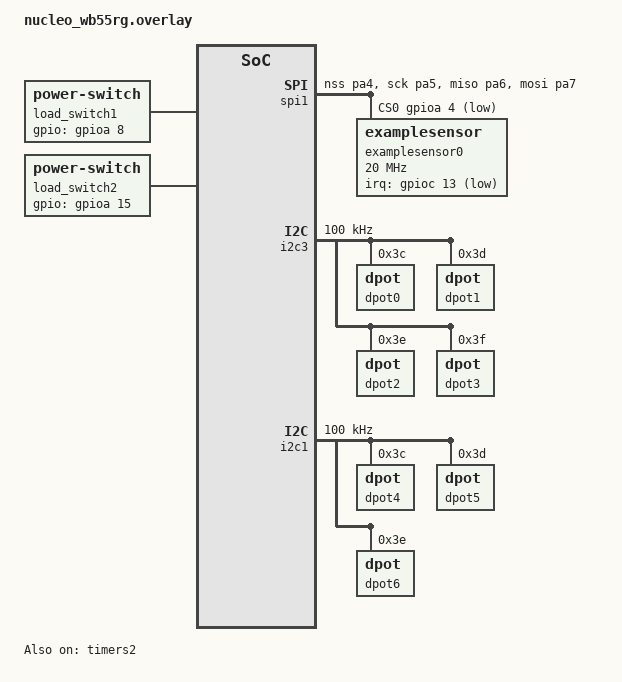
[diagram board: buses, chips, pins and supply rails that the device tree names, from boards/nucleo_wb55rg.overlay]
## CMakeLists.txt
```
#-------------------------------------------------------------------------------
# Zephyr Example Application
#
# Copyright (c) 2021 Nordic Semiconductor ASA
# SPDX-License-Identifier: Apache-2.0

cmake_minimum_required(VERSION 3.13.1)
find_package(Zephyr REQUIRED HINTS $ENV{ZEPHYR_BASE})

project(app LANGUAGES C)

target_sources(app PRIVATE src/main.c)

#FILE(GLOB app_sources src/*.c)
FILE(GLOB app_sources src/egadc.c src/MCP356X.c src/MCP45HVX1.c src/myuuids.c src/dpot.c src/mysrv.c src/mybt.c src/mydefs.c src/btmisc.c src/printer.c)
target_sources(app PRIVATE ${app_sources})
```

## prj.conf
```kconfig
# Copyright (c) 2021 Nordic Semiconductor ASA
# SPDX-License-Identifier: Apache-2.0
#
# This file contains selected Kconfig options for the application.


CONFIG_BT=y
CONFIG_BT_PERIPHERAL=y
CONFIG_BT_SMP=y
CONFIG_TINYCRYPT=y
CONFIG_BT_DEVICE_NAME="TIABT Instrument"
CONFIG_BT_DIS=y
CONFIG_BT_DIS_PNP=n
CONFIG_BT_BAS=y
CONFIG_BT_DEVICE_APPEARANCE=768


#CONFIG_BT_MESH_ADV_STACK_SIZE=2048
#CONFIG_BT_RX_STACK_SIZE=4096
#CONFIG_MAIN_STACK_SIZE=2048


#CONFIG_SENSOR=y

#CONFIG_SPI_INIT_PRIORITY=70
CONFIG_SPI=y

#CONFIG_ADC=y
#CONFIG_ADC_INIT_PRIORITY=71

# I2C
CONFIG_I2C=y

CONFIG_GPIO=y


CONFIG_PRINTK=y

# LOG
CONFIG_LOG=y
CONFIG_LOG_BUFFER_SIZE=2048
#CONFIG_LOG_BACKEND_SHOW_COLOR=y
CONFIG_LOG_MODE_IMMEDIATE=n # This causes ***** MPU FAULT ***** when bluetooth is connecting

# NEWLIB
CONFIG_NEWLIB_LIBC=y
CONFIG_NEWLIB_LIBC_FLOAT_PRINTF=y

CONFIG_BUILD_WITH_TFM=y
CONFIG_TFM_PROFILE_TYPE_MEDIUM=y

# COUNTER
CONFIG_COUNTER=y
CONFIG_COUNTER_INIT_PRIORITY=50
CONFIG_COUNTER_TIMER_STM32=y
CONFIG_COUNTER_RTC_STM32=y
```

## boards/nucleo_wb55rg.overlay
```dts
/*
 * Copyright (c) 2021 Nordic Semiconductor ASA
 * SPDX-License-Identifier: Apache-2.0
 */

/* This devicetree overlay file will be automatically picked by the Zephyr
 * build system when building the sample for the nucleo_f302r8 board. It shows
 * how the example-application can be built on sample boards already provided
 * by Zephyr.
 */

/ {

};

&gpioc {
	status = "okay";
};

// https://os.mbed.com/platforms/ST-Nucleo-WB55RG/
// https://github.com/zephyrproject-rtos/zephyr/blob/main/boards/arm/nucleo_wb55rg/nucleo_wb55rg.dts
// ADC pin CSK ---orange--- (PA5,D13,20,SCK)
// ADC pin SDO ---yellow--- (PA6,D12,21,MISO)
// ADC pin SDI ---green---- (PA7,D11,22,MOSI)
// ADC pin CS  ---white---- (PA4,D10)
// ADC pin INT ---blue----- (PC13,D7)
// https://github.com/zephyrproject-rtos/zephyr-testing/blob/0f09360456592ecf0d0413352dc1ef5d23cd0364/include/drivers/spi.h#L252
// https://github.com/zephyrproject-rtos/zephyr-testing/blob/2fc0ace3c2462cb33dc8c25e33c629cedba08ebb/boards/arm/rm1xx_dvk/rm1xx_dvk.dts#L60
// https://github.com/zephyrproject-rtos/zephyr/blob/ee91cd5665b1590c9a8a9a992bb19d81feeeb461/boards/arm/bt610/bt610.dts#L268


// Connect cables as following:
// ADC PCB |  cable color | CN10 | CN9 |ST-Nucleo-WB55RG
// ========|==============|======|=====|======
// ADC_CS  |  ---green----| 17   | D10 | (PA4)
// ADC_SCK |  ---white----| 11   | D13 | (PA5,20,SCK)
// ADC_SDI |  ---yellow---| 15   | D11 | (PA7,22,MOSI)
// ADC_SDO |  ---gray-----| 13   | D12 | (PA6,21,MISO)
// ADC_INT |  ---purple---| 23   | D7  | (PC13)

// Connect cables as following:
// ADC PCB  |  cable color | Pin      | 
// =========|==============|==========|
// I2C3_SCL |  ---yellow---| CN7_28   |
// I2C3_SDA |  ---green----| CN7_30   |
// I2C1_SCL |  ---yellow---| CN10_3   |
// I2C1_SDA |  ---green----| CN10_5   |


&spi1 {
	status = "okay";
	pinctrl-0 = <&spi1_nss_pa4 &spi1_sck_pa5 &spi1_miso_pa6 &spi1_mosi_pa7>;
	cs-gpios = <&gpioa 4 GPIO_ACTIVE_LOW>;
	examplesensor0: examplesensor@0 {
		compatible = "zephyr,examplesensor";
		spi-max-frequency = <20000000>;
		irq-gpios = <&gpioc 13 GPIO_ACTIVE_LOW>;
		reg = <0>;
	};
};

&i2c3 {
	status = "okay";
	clock-frequency = <I2C_BITRATE_STANDARD>;
	dpot0: dpot@3c {
		compatible = "zephyr,dpot";
		reg = <0x3c>;
	};
	dpot1: dpot@3d {
		compatible = "zephyr,dpot";
		reg = <0x3d>;
	};
	dpot2: dpot@3e {
		compatible = "zephyr,dpot";
		reg = <0x3e>;
	};
	dpot3: dpot@3f {
		compatible = "zephyr,dpot";
		reg = <0x3f>;
	};
};

&i2c1 {
	status = "okay";
	clock-frequency = <I2C_BITRATE_STANDARD>;
	dpot4: dpot@3c {
		compatible = "zephyr,dpot";
		reg = <0x3c>;
	};
	dpot5: dpot@3d {
		compatible = "zephyr,dpot";
		reg = <0x3d>;
	};
	dpot6: dpot@3E {
		compatible = "zephyr,dpot";
		reg = <0x3e>;
	};
};


&timers2 {
	status = "okay";
	counters2: counter {
		compatible = "st,stm32-counter";
		status = "okay";
		label = "COUNTER_2";
	};
};



/ {


	// White cable

	load_switch1: load_switch1 {
		compatible = "power-switch";
		gpios = <&gpioa 8 GPIO_ACTIVE_HIGH>; //CN10.25
	};

	// Grey cable
	load_switch2: load_switch2 {
		compatible = "power-switch";
		gpios = <&gpioa 15 GPIO_ACTIVE_HIGH>; //CN10.27
	};

};
```

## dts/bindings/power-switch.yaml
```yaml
description: GPIO pin to switch a power regulator on or off

compatible: "power-switch"

properties:
  gpios:
    type: phandle-array
    required: true
    description: |
      The GPIO connected to the enable pin of a voltage regulator.
```

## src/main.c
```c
/*
west build -p -b nucleo_wb55rg
west build -p -b esp32c3_devkitm

Timer for nucleo_wb55rg:
https://github.com/zephyrproject-rtos/zephyr/discussions/47033
https://github.com/zephyrproject-rtos/zephyr/blob/main/samples/drivers/counter/alarm/src/main.c

*/


#include <zephyr/device.h>
#include <zephyr/devicetree.h>
#include <zephyr/kernel.h>
#include <zephyr/drivers/spi.h>
#include <zephyr/sys/util.h>
#include <stdint.h>
#include <stdio.h>


#include "app_version.h"
#include "egadc.h"
#include "dpot.h"
#include "mybt.h"
#include "printer.h"
#include "mydefs.h"

#include <zephyr/logging/log.h>
LOG_MODULE_REGISTER(main, CONFIG_APP_LOG_LEVEL);
//struct spi_dt_spec bus = SPI_DT_SPEC_GET(DT_NODELABEL(mcp3204), SPI_WORD_SET(8) | SPI_MODE_GET(0), 1);






void app_print_voltage_ref(struct mcp356x_config * c)
{
	LOG_INF("Checking voltage reference");
	egadc_adc_value_reset(c);
	egadc_set_mux(c, MCP356X_MUX_VIN_NEG_AGND | MCP356X_MUX_VIN_POS_VREF_EXT_PLUS);
	int n = 10;
	while (n--) {
		mcp356x_config_print_voltage(c);
		egadc_adc_value_reset(c);
		k_sleep(K_MSEC(500));
	}
}

void app_print_temperature(struct mcp356x_config * c)
{
	egadc_adc_value_reset(c);
	LOG_INF("Checking temperature MCP356X_MUX_VIN_POS_TEMP");
	egadc_set_ch(c, MCP356X_CH_TEMP);
	int n = 10;
	while (n--) {
		//printf("%04i %f C\n", voltage, celcius * (c->vref_mv / 3.3));
		k_sleep(K_MSEC(500));
	}
}




struct mcp356x_config myadc = {
	.state = EGADC_STATE_START,
	.bus = SPI_DT_SPEC_GET(DT_NODELABEL(examplesensor0), SPI_WORD_SET(8) | SPI_MODE_GET(0), 1),
	.irq = GPIO_DT_SPEC_GET(DT_NODELABEL(examplesensor0), irq_gpios),
	.is_scan = false,
	//.gain_reg = MCP356X_CFG_2_GAIN_X_033,
	.gain_reg = MCP356X_CFG_2_GAIN_X_1,
};

struct mcp45hvx1_config dpots[7] = {
	{.bus = I2C_DT_SPEC_GET(DT_NODELABEL(dpot0)), .myid = MYID_DPOT0_WIPER},
	{.bus = I2C_DT_SPEC_GET(DT_NODELABEL(dpot1)), .myid = MYID_DPOT1_WIPER},
	{.bus = I2C_DT_SPEC_GET(DT_NODELABEL(dpot2)), .myid = MYID_DPOT2_WIPER},
	{.bus = I2C_DT_SPEC_GET(DT_NODELABEL(dpot3)), .myid = MYID_DPOT3_WIPER},
	{.bus = I2C_DT_SPEC_GET(DT_NODELABEL(dpot4)), .myid = MYID_DPOT4_WIPER},
	{.bus = I2C_DT_SPEC_GET(DT_NODELABEL(dpot5)), .myid = MYID_DPOT5_WIPER},
	{.bus = I2C_DT_SPEC_GET(DT_NODELABEL(dpot6)), .myid = MYID_DPOT6_WIPER},
};

static const struct gpio_dt_spec load_switch1 = GPIO_DT_SPEC_GET_OR(DT_NODELABEL(load_switch1), gpios, {0});
static const struct gpio_dt_spec load_switch2 = GPIO_DT_SPEC_GET_OR(DT_NODELABEL(load_switch2), gpios, {0});


static const struct gpio_dt_spec leds[MY_LEDS_COUNT] = 
{
	GPIO_DT_SPEC_GET(DT_NODELABEL(blue_led_1), gpios), //Blue
	GPIO_DT_SPEC_GET(DT_NODELABEL(green_led_2), gpios), //Green
	GPIO_DT_SPEC_GET(DT_NODELABEL(green_led_3), gpios), //Red
};


int test_leds()
{
	for(int i = 0; i < MY_LEDS_COUNT; ++i) {
		int ret;
		if (!gpio_is_ready_dt(leds+i)) {return 0;}
		ret = gpio_pin_configure_dt(leds+i, GPIO_OUTPUT_ACTIVE);
		if (ret < 0) {return 0;}
		k_sleep(K_MSEC(500));
		ret = gpio_pin_set_dt(leds+i,1);
		if (ret < 0) {return 0;}
	}
	k_sleep(K_MSEC(500));
	for(int i = 0; i < MY_LEDS_COUNT; ++i) {
		int ret = gpio_pin_set_dt(leds+i,0);
		if (ret < 0) {return 0;}
	}
	return 0;
}


int main(void)
{
	//printk("Color  \x1b[31;4mtext test\n");
	LOG_INF("examplesensor0 %s", "" DT_NODE_PATH(DT_NODELABEL(examplesensor0)));
	LOG_INF("dpot0 %s, %02X", "" DT_NODE_PATH(DT_NODELABEL(dpot0)), dpots[0].bus.addr);
	LOG_INF("dpot1 %s, %02X", "" DT_NODE_PATH(DT_NODELABEL(dpot1)), dpots[1].bus.addr);
	LOG_INF("dpot2 %s, %02X", "" DT_NODE_PATH(DT_NODELABEL(dpot2)), dpots[2].bus.addr);
	LOG_INF("dpot3 %s, %02X", "" DT_NODE_PATH(DT_NODELABEL(dpot3)), dpots[3].bus.addr);
	LOG_INF("dpot4 %s, %02X", "" DT_NODE_PATH(DT_NODELABEL(dpot4)), dpots[4].bus.addr);
	LOG_INF("dpot5 %s, %02X", "" DT_NODE_PATH(DT_NODELABEL(dpot5)), dpots[5].bus.addr);
	LOG_INF("dpot6 %s, %02X", "" DT_NODE_PATH(DT_NODELABEL(dpot6)), dpots[6].bus.addr);

	LOG_INF("Checking loadswitch1");
	if (!gpio_is_ready_dt(&load_switch1)) {
		LOG_ERR("The load switch pin GPIO port is not ready");
		return 0;
	}

	LOG_INF("Checking loadswitch2");
	if (!gpio_is_ready_dt(&load_switch1)) {
		LOG_ERR("The load switch pin GPIO port is not ready");
		return 0;
	}

	{
		int err = gpio_pin_configure_dt(&load_switch1, GPIO_OUTPUT_INACTIVE);
		if (err != 0) {
			LOG_ERR("Configuring GPIO pin failed: %d\n", err);
			return 0;
		}
		//gpio_pin_set_dt(&load_switch1, 1);
	}

	{
		int err = gpio_pin_configure_dt(&load_switch2, GPIO_OUTPUT_INACTIVE);
		if (err != 0) {
			LOG_ERR("Configuring GPIO pin failed: %d\n", err);
			return 0;
		}
		//gpio_pin_set_dt(&load_switch2, 0);
	}

	LOG_INF("Checking SPI BUS");
	if (!spi_is_ready_dt(&myadc.bus)) {
		LOG_ERR("SPI bus is not ready %i", 0);
		return 0;
	}
	LOG_INF("Checking SPI OK");
	
	LOG_INF("Checking I2C BUS");
	for(int i = 0; i < 7; ++i) {
		if (!i2c_is_ready_dt(&dpots[i].bus)) {
			LOG_ERR("Failed to get pointer to %s device!", dpots[i].bus.bus->name);
			return -EINVAL;
		}
	}
	LOG_INF("Checking I2C OK");


	LOG_INF("Init bluetooth");
	mybt_init();

	LOG_INF("Testing LEDS");
	test_leds();
	
	LOG_INF("Setup ADC");
	egadc_setup_adc(&myadc);
	
	LOG_INF("Setup DPOT");
	dpot_setup(&dpots[0]);
	dpot_setup(&dpots[1]);
	dpot_setup(&dpots[2]);
	dpot_setup(&dpots[3]);
	dpot_setup(&dpots[4]);
	dpot_setup(&dpots[5]);
	dpot_setup(&dpots[6]);

	while(1) {
		mybt_progress(&app);
		egadc_progress(&myadc);
		dpot_progress(&dpots[0]);
		dpot_progress(&dpots[1]);
		dpot_progress(&dpots[2]);
		dpot_progress(&dpots[3]);
		dpot_progress(&dpots[4]);
		dpot_progress(&dpots[5]);
		dpot_progress(&dpots[6]);

		if(app.values_flags[MYID_APP_VREG1_EN] & MYFLAG_SETVAL) {
			app.values_flags[MYID_APP_VREG1_EN] &= ~MYFLAG_SETVAL;
			LOG_INF("Vreg enable load_switch1: %i", !!app.values[MYID_APP_VREG1_EN]);
			int err = gpio_pin_set_dt(&load_switch1, !!app.values[MYID_APP_VREG1_EN]);
			if (err != 0) {
				printf("Setting GPIO pin level failed: %d\n", err);
			}
		}

		if(app.values_flags[MYID_APP_VREG2_EN] & MYFLAG_SETVAL) {
			app.values_flags[MYID_APP_VREG2_EN] &= ~MYFLAG_SETVAL;
			LOG_INF("Vreg enable load_switch2: %i", !!app.values[MYID_APP_VREG2_EN]);
			int err = gpio_pin_set_dt(&load_switch2, !!app.values[MYID_APP_VREG2_EN]);
			if (err != 0) {
				printf("Setting GPIO pin level failed: %d\n", err);
			}
		}

		switch (app.values[MYID_APP_PRINT_MODE])
		{
		case APP_PRINT_MODE_ADC_ALL:
			if(myadc.state == EGADC_STATE_READY) {
				app_print_adc_min(&app);
				app_print_adc_max(&app);
				app_print_adc_val(&app);
			}
			break;
		
		default:
			break;
		}

		k_sleep(K_SECONDS(1));
	}



	return 0;
}
```

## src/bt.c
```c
#include <stdbool.h>
#include <stddef.h>
#include <string.h>
#include <errno.h>

#include <zephyr/types.h>
#include <zephyr/sys/printk.h>
#include <zephyr/sys/byteorder.h>
#include <zephyr/kernel.h>
#include <zephyr/bluetooth/bluetooth.h>
#include <zephyr/bluetooth/hci.h>
#include <zephyr/bluetooth/conn.h>
#include <zephyr/bluetooth/uuid.h>
#include <zephyr/bluetooth/gatt.h>
#include <zephyr/bluetooth/services/bas.h>
#include <zephyr/logging/log.h>

#include "mysrv.h"

LOG_MODULE_REGISTER(bt, CONFIG_APP_LOG_LEVEL);

static void connected(struct bt_conn *conn, uint8_t err)
{
	if (err) {
		LOG_ERR("Connection failed (err 0x%02x)", err);
	} else {
		LOG_INF("Connected");
	}
}

static void disconnected(struct bt_conn *conn, uint8_t reason)
{
	LOG_INF("Disconnected (reason 0x%02x)", reason);
}

BT_CONN_CB_DEFINE(conn_callbacks) = {
	.connected = connected,
	.disconnected = disconnected,
};

static const struct bt_data ad[] = {
	BT_DATA_BYTES(BT_DATA_FLAGS, (BT_LE_AD_GENERAL | BT_LE_AD_NO_BREDR))
};

static void bt_ready(int err)
{
	if (err) {
		LOG_ERR("Bluetooth init failed (err %d)", err);
		return;
	}
	LOG_INF("Bluetooth initialized. Connecting and disconnecting and connecting fails.");
	err = bt_le_adv_start(BT_LE_ADV_CONN_NAME, ad, ARRAY_SIZE(ad), NULL, 0);
	if (err) {
		LOG_ERR("Advertising failed to start (err %d)", err);
		return;
	}
	LOG_INF("Configuration mode: waiting connections...");
}

void mybt_init(void)
{
	int err;
	LOG_INF("Enabling bluetooth");
	err = bt_enable(bt_ready);
	if (err) {
		LOG_ERR("Bluetooth init failed (err %d)", err);
		return;
	}
	LOG_INF("Bluetooth enabled");
}

void mybt_progress(void)
{
	mysrv_notifier();
}
```

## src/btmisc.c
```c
#include "btmisc.h"
#include "mydefs.h"
#include <zephyr/logging/log.h>


LOG_MODULE_REGISTER(btmisc, CONFIG_APP_LOG_LEVEL);

ssize_t read_signed(struct bt_conn *conn, const struct bt_gatt_attr *attr,void *buf, uint16_t len, uint16_t offset)
{
	const char *value = attr->user_data;
	return bt_gatt_attr_read(conn, attr, buf, len, offset, value, sizeof(int32_t));
}

ssize_t write_signed(struct bt_conn *conn, const struct bt_gatt_attr *attr,const void *buf, uint16_t len, uint16_t offset,uint8_t flags)
{
    const struct bt_uuid *uuid = attr[0].uuid;
	print_uuid(uuid);
	uint8_t *value = attr->user_data;
	if (offset + len > sizeof(int32_t)) {
		return BT_GATT_ERR(BT_ATT_ERR_INVALID_OFFSET);
	}
	memcpy(value + offset, buf, len);

	uint16_t w1;
	uuid_extract(uuid, NULL, &w1, NULL, NULL, NULL);

	if(w1 < MYID_COUNT) {
		int32_t value = app.values[w1];
		app.values_flags[w1] |= MYFLAG_SETVAL;
    	//printk("write_signed value: myid:%s value:%i\n", myid_t_tostr(w1), value);
	} else {
		LOG_WRN("w1 outside array");
	}
	
	return len;
}


void uuid_extract(const struct bt_uuid *uuid, uint64_t * w32, uint16_t * w1, uint16_t * w2, uint16_t * w3, uint32_t * w64)
{
	if(w1) {
    	uint16_t tmp;
    	memcpy(&tmp, &BT_UUID_128(uuid)->val[10], sizeof(tmp));
		(*w1) = sys_le16_to_cpu(tmp);
	}
}


void print_uuid(const struct bt_uuid *uuid)
{
	char str[256];
	bt_uuid_to_str(uuid, str, 256);
	printk("%s\n", str);
}

// https://github.com/zephyrproject-rtos/zephyr/blob/b4e66299cdf687003ad6d7e010328f468fda1fbd/subsys/bluetooth/host/uuid.c#L41
void ccc_cfg_changed1(const struct bt_gatt_attr *attr, uint16_t value)
{
    const struct bt_uuid *uuid = attr[-1].uuid;
	uint16_t w1;
	uuid_extract(uuid, NULL, &w1, NULL, NULL, NULL);
	if(w1 >= 0 && w1 < MYID_COUNT) {
		app.values_flags[w1] &= ~MYFLAG_NOTIFY;
		app.values_flags[w1] |= (value == BT_GATT_CCC_NOTIFY) ? MYFLAG_NOTIFY : 0;
		LOG_INF("ccc_cfg_changed1: w1:%04X flags:%08X\n", w1, app.values_flags[w1]);
	}
}


int btmisc_notifier(int32_t * values, uint32_t * flags, int vcount, notify_t * notifier, int count, const struct bt_gatt_attr *attrs)
{
	int err = 0;
	for(int i = 0; i < count; ++i) {
		struct bt_gatt_service_static const * srv = notifier[i].srv;
		if(srv == NULL) {
			break;
		}
		myid_t id = notifier[i].id;
		if(id >= vcount) {
			continue;
		}
		if((flags[id] & MYFLAG_NOTIFY) == 0) {
			continue;
		}
		mygatt_t att = notifier[i].att;
		//values[id]++;
		LOG_INF("notifier: attribute:%i myid:%s", att, myid_t_tostr(id));
		int err = bt_gatt_notify(NULL, &(attrs[att]), &values[id], sizeof(int32_t));
		if (err) {
			LOG_ERR("bt_gatt_notify error: %i\n", err);
		}
	}
	return err;
}
```

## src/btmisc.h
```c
#pragma once
#include "mydefs.h"
#include <zephyr/bluetooth/bluetooth.h>
#include <zephyr/bluetooth/hci.h>
#include <zephyr/bluetooth/conn.h>
#include <zephyr/bluetooth/uuid.h>
#include <zephyr/bluetooth/gatt.h>
#include <zephyr/bluetooth/services/bas.h>
#include <zephyr/sys/byteorder.h>


typedef struct
{
	struct bt_gatt_service_static const * srv;
	mygatt_t att;
	myid_t id;
} notify_t;

ssize_t read_signed(struct bt_conn *conn, const struct bt_gatt_attr *attr,void *buf, uint16_t len, uint16_t offset);
ssize_t write_signed(struct bt_conn *conn, const struct bt_gatt_attr *attr,const void *buf, uint16_t len, uint16_t offset,uint8_t flags);


int btmisc_notifier(int32_t * values, uint32_t * flags, int vcount, notify_t * notifier, int count, const struct bt_gatt_attr *attrs);
void ccc_cfg_changed1(const struct bt_gatt_attr *attr, uint16_t value);
```

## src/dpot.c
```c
#include "dpot.h"
#include "MCP45HVX1.h"

#include <zephyr/logging/log.h>

LOG_MODULE_REGISTER(dpot, CONFIG_APP_LOG_LEVEL);

void transfer(struct mcp45hvx1_config * config, int cmd, int value)
{
	uint8_t tx[2] = {cmd, value};
	uint8_t rx[2] = {0};
	struct i2c_msg msgs[2] = {
		{.buf = tx},
		{.buf = rx},
	};
	int rc = 0;
	int addr = config->bus.addr;

	switch (cmd & 0x0F) {
	case MCP45HVX1_COM_READ:
		msgs[0].flags = I2C_MSG_WRITE;
		msgs[1].flags = I2C_MSG_READ | I2C_MSG_STOP;
		msgs[0].len = 1;
		msgs[1].len = 2;
		rc = i2c_transfer_dt(&config->bus, msgs + 0, 1);
		if (rc) {
			LOG_ERR("Error i2c_transfer: %d", rc);
			return;
		}
		rc = i2c_transfer_dt(&config->bus, msgs + 1, 1);
		if (rc) {
			LOG_ERR("Error i2c_transfer: %d", rc);
			return;
		}
		break;
	
	case MCP45HVX1_COM_WRITE:
		msgs[0].flags = I2C_MSG_WRITE | I2C_MSG_STOP;
		msgs[0].len = 2;
		rc = i2c_transfer_dt(&config->bus, msgs + 0, 1);
		if (rc) {
			LOG_ERR("Error i2c_transfer: %d", rc);
			return;
		}
		break;
	case MCP45HVX1_COM_WIPERINC:
	case MCP45HVX1_COM_WIPERDEC:
		msgs[0].flags = I2C_MSG_WRITE | I2C_MSG_STOP;
		msgs[0].len = 1;
		rc = i2c_transfer_dt(&config->bus, msgs + 0, 1);
		if (rc) {
			LOG_ERR("Error i2c_transfer: %d", rc);
			return;
		}
		break;
	default:
		break;
	}

	switch (cmd & 0x0F) {
	case MCP45HVX1_COM_WIPERINC:
		LOG_INF("MCP45HVX1 WIPERINC: %02X/%s", addr, MCP45HVX1_REG_tostring(cmd & 0xF0));
		break;
	case MCP45HVX1_COM_WIPERDEC:
		LOG_INF("MCP45HVX1 WIPERDEC: %02X/%s", addr, MCP45HVX1_REG_tostring(cmd & 0xF0));
		break;
	case MCP45HVX1_COM_READ:
		LOG_INF("MCP45HVX1 READ: %02X/%s: %02X %02X", addr, MCP45HVX1_REG_tostring(cmd & 0xF0), rx[0], rx[1]);
		break;
	case MCP45HVX1_COM_WRITE:
		LOG_INF("MCP45HVX1 WRITE: %02X/%s: %02X", addr, MCP45HVX1_REG_tostring(cmd & 0xF0), value);
		break;
	}

}







int dpot_setup(struct mcp45hvx1_config * config)
{
	transfer(config, MCP45HVX1_MEM_TCON | MCP45HVX1_COM_WRITE, MCP45HVX1_TCON_R0HW | MCP45HVX1_TCON_R0A | MCP45HVX1_TCON_R0W);
	transfer(config, MCP45HVX1_MEM_WIPER | MCP45HVX1_COM_WRITE, 0);
	return 0;
}




void dpot_progress(struct mcp45hvx1_config * config)
{
	myid_t id = config->myid;
	if(id < MYID_COUNT) {
		if(app.values_flags[id] & MYFLAG_SETVAL) {
			app.values_flags[id] &= ~MYFLAG_SETVAL;
			int32_t value = app.values[id];
			if(value >= 0) {
				transfer(config, MCP45HVX1_MEM_TCON | MCP45HVX1_COM_WRITE, MCP45HVX1_TCON_R0HW | MCP45HVX1_TCON_R0A | MCP45HVX1_TCON_R0W);
				k_sleep(K_MSEC(10));
				transfer(config, MCP45HVX1_MEM_WIPER | MCP45HVX1_COM_WRITE, value);
				LOG_INF("Set dpot %s wiper: %i", myid_t_tostr(id), value);
			} else {
				transfer(config, MCP45HVX1_MEM_TCON | MCP45HVX1_COM_WRITE, MCP45HVX1_TCON_R0HW | MCP45HVX1_TCON_R0A);
			}
		}
	} else {
		LOG_WRN("id outside array");
	}
}
```

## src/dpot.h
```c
#pragma once
#include <zephyr/drivers/i2c.h>
#include "mydefs.h"
// MCP45HVX1
struct mcp45hvx1_config {
	const struct i2c_dt_spec bus;
	myid_t myid;
};



int dpot_setup(struct mcp45hvx1_config * config);

void dpot_progress(struct mcp45hvx1_config * config);
```

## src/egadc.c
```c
#include "egadc.h"

#include <zephyr/drivers/spi.h>
#include <zephyr/sys/util.h>
#include <zephyr/logging/log.h>

#include "MCP356X.h"
#include "mydefs.h"


LOG_MODULE_REGISTER(egadc, LOG_LEVEL_DBG);


static void MCP356X_log_REG_IRQ(uint32_t value)
{
	LOG_INF("MCP356X_IRQ_MASK_EN_STP:        %i", !!(value & MCP356X_IRQ_MASK_EN_STP));
	LOG_INF("MCP356X_IRQ_MASK_EN_FASTCMD:    %i", !!(value & MCP356X_IRQ_MASK_EN_FASTCMD));
	LOG_INF("MCP356X_IRQ_MASK_MODE0:         %i", !!(value & MCP356X_IRQ_MASK_MODE0));
	LOG_INF("MCP356X_IRQ_MASK_MODE1:         %i", !!(value & MCP356X_IRQ_MASK_MODE1));
	LOG_INF("MCP356X_IRQ_MASK_POR_STATUS:    %i", !!(value & MCP356X_IRQ_MASK_POR_STATUS));
	LOG_INF("MCP356X_IRQ_MASK_CRCCFG_STATUS: %i", !!(value & MCP356X_IRQ_MASK_CRCCFG_STATUS));
	LOG_INF("MCP356X_IRQ_MASK_DR_STATUS:     %i", !!(value & MCP356X_IRQ_MASK_DR_STATUS));
	LOG_INF("MCP356X_IRQ_MASK_UNIMPLEMENTED: %i", !!(value & MCP356X_IRQ_MASK_UNIMPLEMENTED));
}

static void MCP356X_log_REG_MUX(uint32_t value)
{
	LOG_INF("MCP356X_REG_MUX_VIN_POS: %s", MCP356X_MUX_POS_to_str(value));
	LOG_INF("MCP356X_REG_MUX_VIN_NEG: %s", MCP356X_MUX_NEG_to_str(value));
}

static void MCP356X_log_REG(uint32_t reg, uint32_t value)
{
	switch (reg)
	{
	case MCP356X_REG_IRQ:
		MCP356X_log_REG_IRQ(value);
		break;
	case MCP356X_REG_MUX:
		MCP356X_log_REG_MUX(value);
		break;
	default:
		break;
	}
}




static int transceive(const struct spi_dt_spec *bus, uint8_t *tx, uint8_t *rx, uint8_t reg, uint8_t len, uint8_t cmd)
{
	struct spi_buf buf_tx[] = {{.buf = tx,.len = len+1}};
	struct spi_buf buf_rx[] = {{.buf = rx,.len = len+1}};
	struct spi_buf_set tx_buf = {.buffers = buf_tx, .count = 1};
	struct spi_buf_set rx_buf = {.buffers = buf_rx, .count = 1};
	tx[0] = MCP356X_COMMAND_BYTE(MCP356X_DEVICE_ADR, reg, cmd);
	int rv = spi_transceive_dt(bus, &tx_buf, &rx_buf);
	return rv;
}


static int get(const struct spi_dt_spec *bus, uint8_t reg, uint32_t * value)
{
	uint8_t len = MCP356X_get_len(reg);
	uint8_t tx[5] = {0};
	uint8_t rx[5] = {0};
	int rv = transceive(bus, tx, rx, reg, len, MCP356X_CMD_INC_READ);
	*value = MCP356X_get_value(rx, len);
	//printk("MCP356X_get_value: %2i : %02X : %02X %02X %02X %02X : %5i\n", len, rx[0], rx[1], rx[2], rx[3], rx[4], v);
	return rv;
}

/*
In MUX mode, channel is defaulted to 0.
Get ADC data as (dataformat 11), see datasheet for more info
*/
static int get_data_11(const struct spi_dt_spec *bus, int32_t * out_value, uint8_t * out_channel)
{
	uint8_t reg = MCP356X_REG_ADC_DATA;
	uint8_t len = 4;
	uint8_t tx[5] = {0};
	uint8_t rx[5] = {0};
	int rv = transceive(bus, tx, rx, reg, len, MCP356X_CMD_INC_READ);
	MCP356X_ADC_DATA_decode_11(rx, out_value, out_channel);
	return rv;
}


static int egadc_log_REG_IRQ(const struct spi_dt_spec *bus, uint8_t reg)
{
	uint32_t value;
	int rv = get(bus, reg, &value);
	if(reg == MCP356X_REG_IRQ)
	{
		MCP356X_log_REG_IRQ(value);
	}
	return rv;
}


#define MCP356X_LOG_SET_VALUE
static int set(const struct spi_dt_spec *bus, uint8_t reg, uint32_t value)
{
	uint8_t len = MCP356X_get_len(reg);
	uint8_t tx[5] = {0};
	uint8_t rx[5] = {0};
	MCP356X_set_value(tx, len, value);
	int rv = transceive(bus, tx, rx, reg, len, MCP356X_CMD_INC_WRITE);
#ifdef MCP356X_LOG_SET_VALUE
	uint32_t value2;
	rv = get(bus, reg, &value2);
	LOG_INF("%s: write:%08x read:%08x", MCP356X_REG_tostring(reg), value, value2);
	MCP356X_log_REG(reg, value2);
#endif
return rv;
}


typedef struct
{
	uint8_t key;
	uint32_t value;
} egadc_regval_pair_t;





void egadc_setup_adc(struct mcp356x_config * config)
{
	LOG_INF("Setting registers in MCP356X");
	/*
	egadc_regval_pair_t a[] = 
	{
		{MCP356X_REG_CFG_0, MCP356X_CFG_0_VREF_SEL_0 | MCP356X_CFG_0_CLK_SEL_2 | MCP356X_CFG_0_CS_SEL_0 | MCP356X_CFG_0_MODE_CONV},
		{MCP356X_REG_CFG_1, MCP356X_CFG_1_PRE_1 | MCP356X_CFG_1_OSR_98304 | MCP356X_CFG_1_DITHER_DEF},
		{MCP356X_REG_CFG_2, MCP356X_CFG_2_BOOST_X_1 | config->gain_reg | MCP356X_CFG_2_AZ_MUX_DIS},
		{MCP356X_REG_CFG_3, MCP356X_CFG_3_CONV_MODE_CONT |MCP356X_CFG_3_DATA_FORMAT_CH_ADC |MCP356X_CFG_3_CRC_FORMAT_16 |MCP356X_CFG_3_CRC_COM_DIS |MCP356X_CFG_3_CRC_OFF_CAL_EN |MCP356X_CFG_3_CRC_GAIN_CAL_EN},
		{MCP356X_REG_IRQ, MCP356X_IRQ_MODE_LOGIC_HIGH},
		{MCP356X_REG_MUX, 0},
		{MCP356X_REG_SCAN, 0},
		{MCP356X_REG_TIMER, 0},
		{MCP356X_REG_OFFSET_CAL, 0},
		{MCP356X_REG_GAIN_CAL, 0x00800000},
		{MCP356X_RSV_REG_W_A, 0x00900000},
		{MCP356X_REG_C, 0},
		{MCP356X_REG_LOCK, 0xA5},
		{MCP356X_RSV_REG, 0},
		{MCP356X_REG_CRC_CFG, 0},
	};
	*/

	set(&config->bus, MCP356X_REG_LOCK, 0xA5); //Unlock
	set(&config->bus, MCP356X_REG_CFG_0,
	MCP356X_CFG_0_VREF_SEL_0 |
	MCP356X_CFG_0_CLK_SEL_2 |
	MCP356X_CFG_0_CS_SEL_0 |
	MCP356X_CFG_0_MODE_CONV
	);
	set(&config->bus, MCP356X_REG_CFG_1,
	MCP356X_CFG_1_PRE_1 |
	//MCP356X_CFG_1_OSR_32 |
	//MCP356X_CFG_1_OSR_256 |
	MCP356X_CFG_1_OSR_98304|
	MCP356X_CFG_1_DITHER_DEF
	);
	set(&config->bus, MCP356X_REG_CFG_2,
	MCP356X_CFG_2_BOOST_X_1 |
	//MCP356X_CFG_2_GAIN_X_1 |
	config->gain_reg |
	MCP356X_CFG_2_AZ_MUX_DIS |
	//MCP356X_CFG_2_AZ_VREF_EN |
	//MCP356X_CFG_2_AZ_FREQ_HIGH |
	0
	);
	set(&config->bus, MCP356X_REG_CFG_3,
	MCP356X_CFG_3_CONV_MODE_CONT |
	//MCP356X_CFG_3_DATA_FORMAT_DEF |
	MCP356X_CFG_3_DATA_FORMAT_CH_ADC |
	MCP356X_CFG_3_CRC_FORMAT_16 |
	MCP356X_CFG_3_CRC_COM_DIS |
	MCP356X_CFG_3_CRC_OFF_CAL_EN |
	MCP356X_CFG_3_CRC_GAIN_CAL_EN
	);
	
	/*
	set(&config->bus, MCP356X_REG_MUX,
	//MCP356X_MUX_VIN_POS_CH0 | //10Mohm + 1µA offset
	//MCP356X_MUX_VIN_POS_CH1 | //10Mohm
	//MCP356X_MUX_VIN_POS_CH5 | //100Mohm + 1µA offset
	MCP356X_MUX_VIN_POS_CH4 | //100Mohm
	//MCP356X_MUX_VIN_POS_CH3 | //1Gohm
	//MCP356X_MUX_VIN_POS_CH1 | 
	//MCP356X_MUX_VIN_POS_CH2 | 
	//MCP356X_MUX_VIN_POS_CH3 | 
	//MCP356X_MUX_VIN_POS_TEMP |
	//MCP356X_MUX_VIN_POS_AVDD | 
	//MCP356X_MUX_VIN_POS_VREF_EXT_PLUS|
	//MCP356X_MUX_VIN_NEG_CH1 |
	//MCP356X_MUX_VIN_POS_CH0 | 
	//MCP356X_MUX_VIN_POS_CH5 | 
	MCP356X_MUX_VIN_NEG_AGND |
	0);
	*/
	
	//set(&config->bus, MCP356X_REG_SCAN, 0);
	
	set(&config->bus, MCP356X_REG_SCAN, 
	MCP356X_SCAN_CH0|
	MCP356X_SCAN_CH1|
	MCP356X_SCAN_CH2|
	MCP356X_SCAN_CH3|
	MCP356X_SCAN_CH4|
	MCP356X_SCAN_CH5|
	MCP356X_SCAN_CH6|
	MCP356X_SCAN_CH7|
	//MCP356X_SCAN_VREF|
	//MCP356X_SCAN_TEMP|
	//MCP356X_SCAN_AVDD|
	//MCP356X_SCAN_OFFSET|
	0);
	
	//set24_verbose(bus, MCP356X_REG_SCAN, MCP356X_SCAN_CH0);
	//set24_verbose(bus, MCP356X_REG_SCAN, MCP356X_SCAN_CH3);
	
	set(&config->bus, MCP356X_REG_IRQ, MCP356X_IRQ_MODE_LOGIC_HIGH);
	set(&config->bus, MCP356X_REG_OFFSET_CAL, 0);
	set(&config->bus, MCP356X_REG_GAIN_CAL, 0x00800000);
	//set(&config->bus, MCP356X_RSV_REG_W_A, 0x00900F00);
	set(&config->bus, MCP356X_RSV_REG_W_A, 0x00900000);

	/*
	{
		uint32_t value;
		uint32_t reg = MCP356X_REG_LOCK;
		get(&config->bus, reg, &value);
		LOG_INF("%s: %08x", MCP356X_REG_tostring(reg), value);
	}
	{
		uint32_t value;
		uint32_t reg = MCP356X_REG_CRC_CFG;
		get(&config->bus, reg, &value);
		LOG_INF("%s: %08x", MCP356X_REG_tostring(reg), value);
	}
	*/
}


void egadc_set_mux(struct mcp356x_config * config, uint8_t mux)
{
	set(&config->bus, MCP356X_REG_MUX, mux);
}


void egadc_set_ch(struct mcp356x_config * config, uint8_t ch)
{
	uint8_t mux = MCP356X_channel_to_mux(ch);
	set(&config->bus, MCP356X_REG_MUX, mux);
}














static void drdy_callback(const struct device *port, struct gpio_callback *cb, gpio_port_pins_t pins)
{
	struct mcp356x_config *config = CONTAINER_OF(cb, struct mcp356x_config, drdy_cb);
	//TODO: Why is num_irq inside drdy_callback much higher than num_drdy inside mcp356x_acquisition_thread?
	config->num_irq++;
	k_sem_give(&config->drdy_sem);
}


static void mcp356x_acquisition_thread(struct mcp356x_config * config)
{
	LOG_INF("mcp356x_acquisition_thread started!");
	config->status |= EGADC_THREAD_STARTED_BIT;
	while (true) {
		int rv = 0;

		// Wait for IRQ callback to give this semaphore:
		rv = k_sem_take(&config->drdy_sem, K_SECONDS(1));
		if(rv != 0) {
			//LOG_ERR("mcp356x_acquisition_thread: k_sem_take: %i\n", rv);
			config->status |= EGADC_TIMEOUT_BIT;
			continue;
		}
		
		config->num_drdy++;
		
		// Read ADC value from register MCP356X_REG_ADC_DATA as DATA_FORMAT=11:
		int32_t value = 0;
		uint8_t channel = 0;
		rv = get_data_11(&config->bus, &value, &channel);
		if (rv) {
			LOG_ERR("mcp356x_acquisition_thread error: get_data_11:%i\n", rv);
			continue;
		}

		// Protect array bounds
		if (channel >= MCP356X_CHANNEL_COUNT) {
			LOG_ERR("mcp356x_acquisition_thread error: channel out of bounds:%i\n", channel);
			continue;
		}

		uint8_t gain_reg = config->gain_reg;
		if(config->is_scan) {
			gain_reg = MCP356X_get_scan_channel_gain(channel);
		}

		// https://dsp.stackexchange.com/questions/66171/single-pole-iir-filter-fixed-point-design
		// efficient implementation of IIR1 alpha = 1/2:
		config->raw_iir[channel] = ((int64_t)config->raw_iir[channel] + (int64_t)value) >> 1;
		config->raw_max[channel] = MAX(config->raw_max[channel], value);
		config->raw_min[channel] = MIN(config->raw_min[channel], value);
	}
}


int egadc_setup_board(struct mcp356x_config * config)
{
	LOG_INF("Configuring port %s %i",config->irq.port->name, config->irq.pin);
	int err;
	err = gpio_pin_configure_dt(&config->irq, GPIO_INPUT);
	if (err) {
		LOG_ERR("gpio_pin_configure_dt error: %i\n", err);
		return err;
	}
	err = gpio_pin_interrupt_configure_dt(&config->irq, GPIO_INT_EDGE_TO_ACTIVE);
	if (err) {
		LOG_ERR("gpio_pin_interrupt_configure_dt error: %i\n", err);
		return err;
	}
	gpio_init_callback(&config->drdy_cb, drdy_callback, BIT(config->irq.pin));
	err = gpio_add_callback(config->irq.port, &config->drdy_cb);
	if (err) {
		LOG_ERR("gpio_add_callback error: %i\n", err);
		return err;
	}
	err = k_sem_init(&config->acq_sem, 0, 1);
	if (err) {
		LOG_ERR("k_sem_init error: %i\n", err);
		return err;
	}
	err = k_sem_init(&config->drdy_sem, 0, 1);
	if (err) {
		LOG_ERR("k_sem_init error: %i\n", err);
		return err;
	}
	k_thread_create(&config->thread, config->stack,
			ADC_MCP356X_ACQUISITION_THREAD_STACK_SIZE,
			(k_thread_entry_t)mcp356x_acquisition_thread,
			(void *)config, NULL, NULL,
			//K_PRIO_COOP(ADC_MCP356X_ACQUISITION_THREAD_PRIO),
			ADC_MCP356X_ACQUISITION_THREAD_PRIO,
			//0,
			0, K_NO_WAIT);
	err = k_thread_name_set(&config->thread, "mcp356x");
	if (err) {
		LOG_WRN("k_thread_name_set error: %i\n", err);
		return err;
	}
	return 0;
}



void egadc_adc_value_reset(struct mcp356x_config * config)
{
	config->num_drdy = 0;
	config->num_irq = 0;
	config->raw_max[MCP356X_CH_CH0] = INT32_MIN; // Reset max
	config->raw_max[MCP356X_CH_CH1] = INT32_MIN; // Reset max
	config->raw_max[MCP356X_CH_CH2] = INT32_MIN; // Reset max
	config->raw_max[MCP356X_CH_CH3] = INT32_MIN; // Reset max
	config->raw_max[MCP356X_CH_CH4] = INT32_MIN; // Reset max
	config->raw_max[MCP356X_CH_CH5] = INT32_MIN; // Reset max
	config->raw_max[MCP356X_CH_CH6] = INT32_MIN; // Reset max
	config->raw_max[MCP356X_CH_CH7] = INT32_MIN; // Reset max
	config->raw_min[MCP356X_CH_CH0] = INT32_MAX; // Reset min
	config->raw_min[MCP356X_CH_CH1] = INT32_MAX; // Reset min
	config->raw_min[MCP356X_CH_CH2] = INT32_MAX; // Reset min
	config->raw_min[MCP356X_CH_CH3] = INT32_MAX; // Reset min
	config->raw_min[MCP356X_CH_CH4] = INT32_MAX; // Reset min
	config->raw_min[MCP356X_CH_CH5] = INT32_MAX; // Reset min
	config->raw_min[MCP356X_CH_CH6] = INT32_MAX; // Reset min
	config->raw_min[MCP356X_CH_CH7] = INT32_MAX; // Reset min
}







void egadc_progress(struct mcp356x_config * config)
{
	switch (config->state) {
	case EGADC_STATE_START:
		LOG_INF("EGADC_STATE_START");
		egadc_setup_board(config);
		config->state = EGADC_STATE_INIT;
		break;

	case EGADC_STATE_INIT:
		LOG_INF("EGADC_STATE_INIT");
		egadc_setup_adc(config);
		//egadc_set_ch(config, MCP356X_CH_CH3);
		config->state = EGADC_STATE_WAIT0;
		config->time0 = 0;
		break;

	case EGADC_STATE_WAIT0:
		if(config->num_drdy > 0){
			config->state = EGADC_STATE_READY;
			LOG_INF("EGADC_STATE_READY");
		} else {
			config->time0++;
			if(config->time0 > 10) {
				LOG_INF("No respond from ADC");
				config->state = EGADC_STATE_INIT;
			}
			/*
			gpio_pin_set_dt(leds + MY_LEDS_WAITING, 1);
			k_sleep(K_MSEC(500));
			gpio_pin_set_dt(leds + MY_LEDS_WAITING, 0);
			k_sleep(K_MSEC(500));
			*/
		}
		break;

	case EGADC_STATE_READY:
		if(config->status & EGADC_TIMEOUT_BIT) {
			LOG_INF("ADC Timeout");
			config->status &= ~EGADC_TIMEOUT_BIT;
			config->state = EGADC_STATE_INIT;
		}
		//printk("raw_iir0: %i\n", config->raw_iir[0]);
		app.values[MYID_ADC_CH0] = MCP356X_raw_to_volt(config->raw_iir[0], TIABT_VREF_MICRO_VOLT, config->gain_reg);
		app.values[MYID_ADC_CH1] = MCP356X_raw_to_volt(config->raw_iir[1], TIABT_VREF_MICRO_VOLT, config->gain_reg);
		app.values[MYID_ADC_CH2] = MCP356X_raw_to_volt(config->raw_iir[2], TIABT_VREF_MICRO_VOLT, config->gain_reg);
		app.values[MYID_ADC_CH3] = MCP356X_raw_to_volt(config->raw_iir[3], TIABT_VREF_MICRO_VOLT, config->gain_reg);
		app.values[MYID_ADC_CH4] = MCP356X_raw_to_volt(config->raw_iir[4], TIABT_VREF_MICRO_VOLT, config->gain_reg);
		app.values[MYID_ADC_CH5] = MCP356X_raw_to_volt(config->raw_iir[5], TIABT_VREF_MICRO_VOLT, config->gain_reg);
		app.values[MYID_ADC_CH6] = MCP356X_raw_to_volt(config->raw_iir[6], TIABT_VREF_MICRO_VOLT, config->gain_reg);
		app.values[MYID_ADC_CH7] = MCP356X_raw_to_volt(config->raw_iir[7], TIABT_VREF_MICRO_VOLT, config->gain_reg);
		app.values[MYID_ADC_CH0_MIN] = MCP356X_raw_to_volt(config->raw_min[0], TIABT_VREF_MICRO_VOLT, config->gain_reg);
		app.values[MYID_ADC_CH1_MIN] = MCP356X_raw_to_volt(config->raw_min[1], TIABT_VREF_MICRO_VOLT, config->gain_reg);
		app.values[MYID_ADC_CH2_MIN] = MCP356X_raw_to_volt(config->raw_min[2], TIABT_VREF_MICRO_VOLT, config->gain_reg);
		app.values[MYID_ADC_CH3_MIN] = MCP356X_raw_to_volt(config->raw_min[3], TIABT_VREF_MICRO_VOLT, config->gain_reg);
		app.values[MYID_ADC_CH4_MIN] = MCP356X_raw_to_volt(config->raw_min[4], TIABT_VREF_MICRO_VOLT, config->gain_reg);
		app.values[MYID_ADC_CH5_MIN] = MCP356X_raw_to_volt(config->raw_min[5], TIABT_VREF_MICRO_VOLT, config->gain_reg);
		app.values[MYID_ADC_CH6_MIN] = MCP356X_raw_to_volt(config->raw_min[6], TIABT_VREF_MICRO_VOLT, config->gain_reg);
		app.values[MYID_ADC_CH7_MIN] = MCP356X_raw_to_volt(config->raw_min[7], TIABT_VREF_MICRO_VOLT, config->gain_reg);
		app.values[MYID_ADC_CH0_MAX] = MCP356X_raw_to_volt(config->raw_max[0], TIABT_VREF_MICRO_VOLT, config->gain_reg);
		app.values[MYID_ADC_CH1_MAX] = MCP356X_raw_to_volt(config->raw_max[1], TIABT_VREF_MICRO_VOLT, config->gain_reg);
		app.values[MYID_ADC_CH2_MAX] = MCP356X_raw_to_volt(config->raw_max[2], TIABT_VREF_MICRO_VOLT, config->gain_reg);
		app.values[MYID_ADC_CH3_MAX] = MCP356X_raw_to_volt(config->raw_max[3], TIABT_VREF_MICRO_VOLT, config->gain_reg);
		app.values[MYID_ADC_CH4_MAX] = MCP356X_raw_to_volt(config->raw_max[4], TIABT_VREF_MICRO_VOLT, config->gain_reg);
		app.values[MYID_ADC_CH5_MAX] = MCP356X_raw_to_volt(config->raw_max[5], TIABT_VREF_MICRO_VOLT, config->gain_reg);
		app.values[MYID_ADC_CH6_MAX] = MCP356X_raw_to_volt(config->raw_max[6], TIABT_VREF_MICRO_VOLT, config->gain_reg);
		app.values[MYID_ADC_CH7_MAX] = MCP356X_raw_to_volt(config->raw_max[7], TIABT_VREF_MICRO_VOLT, config->gain_reg);
		int resistor = 1000000;
		app.values[MYID_CH0_PIKO_A] = app.values[MYID_ADC_CH0] * (1000000 / resistor);
		app.values[MYID_CH1_PIKO_A] = app.values[MYID_ADC_CH1] * (1000000 / resistor);
		app.values[MYID_CH2_PIKO_A] = app.values[MYID_ADC_CH2] * (1000000 / resistor);
		app.values[MYID_CH3_PIKO_A] = app.values[MYID_ADC_CH3] * (1000000 / resistor);
		app.values[MYID_CH4_PIKO_A] = app.values[MYID_ADC_CH4] * (1000000 / resistor);
		app.values[MYID_CH5_PIKO_A] = app.values[MYID_ADC_CH5] * (1000000 / resistor);
		app.values[MYID_CH6_PIKO_A] = app.values[MYID_ADC_CH6] * (1000000 / resistor);
		app.values[MYID_CH7_PIKO_A] = app.values[MYID_ADC_CH7] * (1000000 / resistor);
		egadc_adc_value_reset(config);
		break;

	default:
		break;
	}

	//printk("state: %i\n", config->state);
}
```

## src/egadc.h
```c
#pragma once
#include <zephyr/drivers/spi.h>
#include <zephyr/kernel.h>
#include "MCP356X.h"

#define ADC_MCP356X_ACQUISITION_THREAD_STACK_SIZE 1024
#define ADC_MCP356X_ACQUISITION_THREAD_PRIO 10

#define EGADC_TIMEOUT_BIT        0x00000001
#define EGADC_THREAD_STARTED_BIT 0x00000002

typedef enum {
	EGADC_STATE_UNKNOWN,
	EGADC_STATE_START,
	EGADC_STATE_INIT,
	EGADC_STATE_WAIT0,
	EGADC_STATE_WAIT1,
	EGADC_STATE_READY,
} egadc_state_t;

struct mcp356x_config
{
	uint32_t status;
	const struct spi_dt_spec bus;
	struct gpio_dt_spec irq;      // GPIO
	struct k_sem acq_sem;         // Signal acq thread for next sample
	struct k_sem drdy_sem;        // Signal data ready IRQ
	struct gpio_callback drdy_cb; // For data ready IRQ
	struct k_thread thread;       // Acquisition thread
	int num_irq;
	int num_drdy;
	uint32_t time0;
	int state;

	int32_t raw_iir[MCP356X_CHANNEL_COUNT];
	int32_t raw_min[MCP356X_CHANNEL_COUNT];
	int32_t raw_max[MCP356X_CHANNEL_COUNT];

	int is_scan;
	uint8_t gain_reg; // Gain register value
	K_KERNEL_STACK_MEMBER(stack, ADC_MCP356X_ACQUISITION_THREAD_STACK_SIZE);
};




int egadc_setup_board(struct mcp356x_config * config);
void egadc_setup_adc(struct mcp356x_config * config);
void egadc_set_ch(struct mcp356x_config * config, uint8_t ch);
void egadc_set_mux(struct mcp356x_config * config, uint8_t mux);

void egadc_adc_value_reset(struct mcp356x_config * config);

void egadc_progress(struct mcp356x_config * config);
```

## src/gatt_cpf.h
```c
#pragma once
#include <zephyr/bluetooth/gatt.h>

/*
https://www.bluetooth.com/wp-content/uploads/Files/Specification/HTML/Assigned_Numbers/out/en/Assigned_Numbers.pdf?v=1707735720897

*/

//2.4.1 GATT Format Types
#define FORMAT_FLOAT32 0x14
#define FORMAT_SINT32 0x10

// 3.5.1 Units by Name
#define UNIT_ACCELERATION 0x2713
#define UNIT_VOLTAGE 0x2728
#define UNIT_AMPERE 0x2704
#define UNIT_SECOND 0x2703
#define UNIT_RESISTANCE 0x272A
#define UNIT_UNKNOWN 0x0000





#define GATT_FORMAT_NAMESPACE 0x01 // 2.4.2 GATT Characteristic Presentation Format Name Space
#define GATT_FORMAT_DESCRIPTION 0x010F // 2.4.2.1 Bluetooth SIG GATT Characteristic Presentation Format Description

static struct bt_gatt_cpf cpf_i32 = {
	FORMAT_SINT32,
	0, // exponent
	UNIT_UNKNOWN,
	GATT_FORMAT_NAMESPACE, 
	GATT_FORMAT_DESCRIPTION
};

static struct bt_gatt_cpf cpf_dpot = {
	FORMAT_SINT32,
	0, // exponent
	UNIT_UNKNOWN,
	GATT_FORMAT_NAMESPACE, 
	GATT_FORMAT_DESCRIPTION
};


static struct bt_gatt_cpf cpf_micro_voltage = {
	FORMAT_SINT32,
	-6, // exponent
	UNIT_VOLTAGE,
	GATT_FORMAT_NAMESPACE, 
	GATT_FORMAT_DESCRIPTION
};

static struct bt_gatt_cpf cpf_piko_ampere = {
	FORMAT_SINT32,
	-12, // exponent
	UNIT_AMPERE,
	GATT_FORMAT_NAMESPACE, 
	GATT_FORMAT_DESCRIPTION
};

static struct bt_gatt_cpf cpf_resistance = {
	FORMAT_SINT32,
	0, // exponent
	UNIT_RESISTANCE,
	GATT_FORMAT_NAMESPACE, 
	GATT_FORMAT_DESCRIPTION
};
```

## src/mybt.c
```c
#include <stdbool.h>
#include <stddef.h>
#include <string.h>
#include <errno.h>

#include <zephyr/types.h>
#include <zephyr/sys/printk.h>
#include <zephyr/sys/byteorder.h>
#include <zephyr/kernel.h>
#include <zephyr/bluetooth/bluetooth.h>
#include <zephyr/bluetooth/hci.h>
#include <zephyr/bluetooth/conn.h>
#include <zephyr/bluetooth/uuid.h>
#include <zephyr/bluetooth/gatt.h>
#include <zephyr/bluetooth/services/bas.h>
#include <zephyr/logging/log.h>

#include "mysrv.h"

LOG_MODULE_REGISTER(bt, CONFIG_APP_LOG_LEVEL);

static void connected(struct bt_conn *conn, uint8_t err)
{
	if (err) {
		LOG_ERR("Connection failed (err 0x%02x)", err);
	} else {
		LOG_INF("Connected");
	}
}

static void disconnected(struct bt_conn *conn, uint8_t reason)
{
	LOG_INF("Disconnected (reason 0x%02x)", reason);
}

BT_CONN_CB_DEFINE(conn_callbacks) = {
	.connected = connected,
	.disconnected = disconnected,
};

static const struct bt_data ad[] = {
	BT_DATA_BYTES(BT_DATA_FLAGS, (BT_LE_AD_GENERAL | BT_LE_AD_NO_BREDR))
};

static void bt_ready(int err)
{
	if (err) {
		LOG_ERR("Bluetooth init failed (err %d)", err);
		return;
	}
	LOG_INF("Bluetooth initialized. Connecting and disconnecting and connecting fails.");
	err = bt_le_adv_start(BT_LE_ADV_CONN_NAME, ad, ARRAY_SIZE(ad), NULL, 0);
	if (err) {
		LOG_ERR("Advertising failed to start (err %d)", err);
		return;
	}
	LOG_INF("Configuration mode: waiting connections...");
}

void mybt_init(void)
{
	int err;
	LOG_INF("Enabling bluetooth");
	err = bt_enable(bt_ready);
	if (err) {
		LOG_ERR("Bluetooth init failed (err %d)", err);
		return;
	}
	LOG_INF("Bluetooth enabled");
}

void mybt_progress(app_t * a)
{
	mysrv_notify(a);
}
```

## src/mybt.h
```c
/*
https://github.com/zephyrproject-rtos/zephyr/issues/50655
*/

#include "mydefs.h"

void mybt_init(void);
void mybt_progress(app_t * a);
```

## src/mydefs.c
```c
#include "mydefs.h"

app_t app = {
	.app_print_mode = APP_PRINT_MODE_UNKNOWN,
	.values_flags = {
		[MYID_APP_VREG1_EN] = MYFLAG_SETVAL,
		[MYID_APP_VREG2_EN] = MYFLAG_SETVAL,
		[MYID_DPOT0_WIPER] = MYFLAG_SETVAL,
		[MYID_DPOT1_WIPER] = MYFLAG_SETVAL,
		[MYID_DPOT2_WIPER] = MYFLAG_SETVAL,
		[MYID_DPOT3_WIPER] = MYFLAG_SETVAL,
		[MYID_DPOT4_WIPER] = MYFLAG_SETVAL,
		[MYID_DPOT5_WIPER] = MYFLAG_SETVAL,
		[MYID_DPOT6_WIPER] = MYFLAG_SETVAL,
	},
	.values = {
		[MYID_APP_PRINT_MODE] = APP_PRINT_MODE_ADC_ALL,
		[MYID_APP_VREG1_EN] = 1, // On state
		[MYID_APP_VREG2_EN] = 1, // On state
		[MYID_DPOT0_WIPER] = -1, // Off state
		[MYID_DPOT1_WIPER] = -1, // Off state
		[MYID_DPOT2_WIPER] = -1, // Off state
		[MYID_DPOT3_WIPER] = -1, // Off state
		[MYID_DPOT4_WIPER] = -1, // Off state
		[MYID_DPOT5_WIPER] = -1, // Off state
		[MYID_DPOT6_WIPER] = -1, // Off state
		[MYID_CH0_RESISTOR_FB] = 100*1000*1000, // 100Mohm
		[MYID_CH1_RESISTOR_FB] = 100*1000*1000, // 100Mohm
		[MYID_CH2_RESISTOR_FB] = 100*1000*1000, // 100Mohm
		[MYID_CH3_RESISTOR_FB] = 100*1000*1000, // 100Mohm
		[MYID_CH4_RESISTOR_FB] = 10*1000*1000, // 10Mohm
		[MYID_CH5_RESISTOR_FB] = 10*1000*1000, // 10Mohm
		[MYID_CH6_RESISTOR_FB] = 10*1000*1000, // 10Mohm
		[MYID_CH7_RESISTOR_FB] = 10*1000*1000, // 10Mohm
	}
};


char const * myid_t_tostr(myid_t id)
{
	switch (id)
	{
	case MYID_APP_PRINT_MODE: return "APP_PRINT_MODE";
	case MYID_ADC_CH0: return "ADC_CH0";
	case MYID_ADC_CH1: return "ADC_CH1";
	case MYID_ADC_CH2: return "ADC_CH2";
	case MYID_ADC_CH3: return "ADC_CH3";
	case MYID_ADC_CH4: return "ADC_CH4";
	case MYID_ADC_CH5: return "ADC_CH5";
	case MYID_ADC_CH6: return "ADC_CH6";
	case MYID_ADC_CH7: return "ADC_CH7";
	case MYID_CH0_PIKO_A: return "CH0_PIKO_A";
	case MYID_CH1_PIKO_A: return "CH1_PIKO_A";
	case MYID_CH2_PIKO_A: return "CH2_PIKO_A";
	case MYID_CH3_PIKO_A: return "CH3_PIKO_A";
	case MYID_CH4_PIKO_A: return "CH4_PIKO_A";
	case MYID_CH5_PIKO_A: return "CH5_PIKO_A";
	case MYID_CH6_PIKO_A: return "CH6_PIKO_A";
	case MYID_CH7_PIKO_A: return "CH7_PIKO_A";
	case MYID_ADC_OFFSET: return "ADC_VREF";
	case MYID_ADC_VCM: return "ADC_VCM";
	case MYID_ADC_AVDD: return "ADC_AVDD";
	case MYID_ADC_TEMP: return "ADC_TEMP";

	case MYID_DPOT0_WIPER: return "DPOT0_WIPER";
	case MYID_DPOT1_WIPER: return "DPOT1_WIPER";
	case MYID_DPOT2_WIPER: return "DPOT2_WIPER";
	case MYID_DPOT3_WIPER: return "DPOT3_WIPER";
	case MYID_DPOT4_WIPER: return "DPOT4_WIPER";
	case MYID_DPOT5_WIPER: return "DPOT5_WIPER";
	case MYID_DPOT6_WIPER: return "DPOT6_WIPER";

	case MYID_CH0_RESISTOR_FB: return "CH0_RESISTOR_FB";
	case MYID_CH1_RESISTOR_FB: return "CH1_RESISTOR_FB";
	case MYID_CH2_RESISTOR_FB: return "CH2_RESISTOR_FB";
	case MYID_CH3_RESISTOR_FB: return "CH3_RESISTOR_FB";
	case MYID_CH4_RESISTOR_FB: return "CH4_RESISTOR_FB";
	case MYID_CH5_RESISTOR_FB: return "CH5_RESISTOR_FB";
	case MYID_CH6_RESISTOR_FB: return "CH6_RESISTOR_FB";
	case MYID_CH7_RESISTOR_FB: return "CH7_RESISTOR_FB";

	default:
		break;
	}
}
```

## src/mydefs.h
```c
#pragma once
#include <stdint.h>


// The ADC9 uses 2000mV voltage ref chip MCP1501
#define ADC9_VREF_MICRO_VOLT 2048*1000
#define TIABT_VREF_MICRO_VOLT 3000*1000

typedef enum {
	APP_START,
	APP_WAITING,
	APP_INIT_ADC,
	APP_PRINT_ADC
} app_state_t;

typedef enum {
	MY_LEDS_OTHER,
	MY_LEDS_BEATS,
	MY_LEDS_WAITING,
	MY_LEDS_COUNT
} my_leds_t;


typedef enum {
	MYSRV_UUID_SRV0,
	MYSRV_UUID_SRV1,
	MYSRV_UUID_SRV2,
	MYSRV_UUID_SRV3,
	MYSRV_UUID_SRV4,
	MYSRV_UUID_SRV5,
	MYSRV_UUID_COUNT,
} mysrv_uuid_t;


typedef enum {
	MYGATT_SRV1,

	MYGATT_SRV1_APP_PRINT_MODE_CHRC0,
	MYGATT_SRV1_APP_PRINT_MODE_CHRC1,
	MYGATT_SRV1_APP_PRINT_MODE_CCC,
	MYGATT_SRV1_APP_PRINT_MODE_CUD,
	MYGATT_SRV1_APP_PRINT_MODE_CPF,

	MYGATT_SRV1_APP_VREG1_EN_CHRC0,
	MYGATT_SRV1_APP_VREG1_EN_CHRC1,
	MYGATT_SRV1_APP_VREG1_EN_CCC,
	MYGATT_SRV1_APP_VREG1_EN_CUD,
	MYGATT_SRV1_APP_VREG1_EN_CPF,

	MYGATT_SRV1_APP_VREG2_EN_CHRC0,
	MYGATT_SRV1_APP_VREG2_EN_CHRC1,
	MYGATT_SRV1_APP_VREG2_EN_CCC,
	MYGATT_SRV1_APP_VREG2_EN_CUD,
	MYGATT_SRV1_APP_VREG2_EN_CPF,

	MYGATT_SRV2,
	MYGATT_SRV2_CH0_CHRC0,
	MYGATT_SRV2_CH0_CHRC1,
	MYGATT_SRV2_CH0_CCC,
	MYGATT_SRV2_CH0_CUD,
	MYGATT_SRV2_CH0_CPF,

	MYGATT_SRV2_CH1_CHRC0,
	MYGATT_SRV2_CH1_CHRC1,
	MYGATT_SRV2_CH1_CCC,
	MYGATT_SRV2_CH1_CUD,
	MYGATT_SRV2_CH1_CPF,

	MYGATT_SRV2_CH2_CHRC0,
	MYGATT_SRV2_CH2_CHRC1,
	MYGATT_SRV2_CH2_CCC,
	MYGATT_SRV2_CH2_CUD,
	MYGATT_SRV2_CH2_CPF,

	MYGATT_SRV2_CH3_CHRC0,
	MYGATT_SRV2_CH3_CHRC1,
	MYGATT_SRV2_CH3_CCC,
	MYGATT_SRV2_CH3_CUD,
	MYGATT_SRV2_CH3_CPF,

	MYGATT_SRV2_CH4_CHRC0,
	MYGATT_SRV2_CH4_CHRC1,
	MYGATT_SRV2_CH4_CCC,
	MYGATT_SRV2_CH4_CUD,
	MYGATT_SRV2_CH4_CPF,

	MYGATT_SRV2_CH5_CHRC0,
	MYGATT_SRV2_CH5_CHRC1,
	MYGATT_SRV2_CH5_CCC,
	MYGATT_SRV2_CH5_CUD,
	MYGATT_SRV2_CH5_CPF,

	MYGATT_SRV2_CH6_CHRC0,
	MYGATT_SRV2_CH6_CHRC1,
	MYGATT_SRV2_CH6_CCC,
	MYGATT_SRV2_CH6_CUD,
	MYGATT_SRV2_CH6_CPF,
	
	MYGATT_SRV2_CH7_CHRC0,
	MYGATT_SRV2_CH7_CHRC1,
	MYGATT_SRV2_CH7_CCC,
	MYGATT_SRV2_CH7_CUD,
	MYGATT_SRV2_CH7_CPF,

	MYGATT_SRV2_ADC_OFFSET_CHRC0,
	MYGATT_SRV2_ADC_OFFSET_CHRC1,
	MYGATT_SRV2_ADC_OFFSET_CCC,
	MYGATT_SRV2_ADC_OFFSET_CUD,
	MYGATT_SRV2_ADC_OFFSET_CPF,

	MYGATT_SRV2_ADC_AVDD_CHRC0,
	MYGATT_SRV2_ADC_AVDD_CHRC1,
	MYGATT_SRV2_ADC_AVDD_CCC,
	MYGATT_SRV2_ADC_AVDD_CUD,
	MYGATT_SRV2_ADC_AVDD_CPF,

	MYGATT_SRV2_ADC_VCM_CHRC0,
	MYGATT_SRV2_ADC_VCM_CHRC1,
	MYGATT_SRV2_ADC_VCM_CCC,
	MYGATT_SRV2_ADC_VCM_CUD,
	MYGATT_SRV2_ADC_VCM_CPF,

	MYGATT_SRV2_ADC_TEMP_CHRC0,
	MYGATT_SRV2_ADC_TEMP_CHRC1,
	MYGATT_SRV2_ADC_TEMP_CCC,
	MYGATT_SRV2_ADC_TEMP_CUD,
	MYGATT_SRV2_ADC_TEMP_CPF,










	MYGATT_SRV3,
	MYGATT_SRV3_DPOT0_CHRC0,
	MYGATT_SRV3_DPOT0_CHRC1,
	MYGATT_SRV3_DPOT0_CCC,
	MYGATT_SRV3_DPOT0_CUD,
	MYGATT_SRV3_DPOT0_CPF,

	MYGATT_SRV3_DPOT1_CHRC0,
	MYGATT_SRV3_DPOT1_CHRC1,
	MYGATT_SRV3_DPOT1_CCC,
	MYGATT_SRV3_DPOT1_CUD,
	MYGATT_SRV3_DPOT1_CPF,

	MYGATT_SRV3_DPOT2_CHRC0,
	MYGATT_SRV3_DPOT2_CHRC1,
	MYGATT_SRV3_DPOT2_CCC,
	MYGATT_SRV3_DPOT2_CUD,
	MYGATT_SRV3_DPOT2_CPF,

	MYGATT_SRV3_DPOT3_CHRC0,
	MYGATT_SRV3_DPOT3_CHRC1,
	MYGATT_SRV3_DPOT3_CCC,
	MYGATT_SRV3_DPOT3_CUD,
	MYGATT_SRV3_DPOT3_CPF,

	MYGATT_SRV3_DPOT4_CHRC0,
	MYGATT_SRV3_DPOT4_CHRC1,
	MYGATT_SRV3_DPOT4_CCC,
	MYGATT_SRV3_DPOT4_CUD,
	MYGATT_SRV3_DPOT4_CPF,

	MYGATT_SRV3_DPOT5_CHRC0,
	MYGATT_SRV3_DPOT5_CHRC1,
	MYGATT_SRV3_DPOT5_CCC,
	MYGATT_SRV3_DPOT5_CUD,
	MYGATT_SRV3_DPOT5_CPF,

	MYGATT_SRV3_DPOT6_CHRC0,
	MYGATT_SRV3_DPOT6_CHRC1,
	MYGATT_SRV3_DPOT6_CCC,
	MYGATT_SRV3_DPOT6_CUD,
	MYGATT_SRV3_DPOT6_CPF,


	MYGATT_SRV4,
	MYGATT_SRV4_CH0_CHRC0,
	MYGATT_SRV4_CH0_CHRC1,
	MYGATT_SRV4_CH0_CCC,
	MYGATT_SRV4_CH0_CUD,
	MYGATT_SRV4_CH0_CPF,
	MYGATT_SRV4_CH1_CHRC0,
	MYGATT_SRV4_CH1_CHRC1,
	MYGATT_SRV4_CH1_CCC,
	MYGATT_SRV4_CH1_CUD,
	MYGATT_SRV4_CH1_CPF,
	MYGATT_SRV4_CH2_CHRC0,
	MYGATT_SRV4_CH2_CHRC1,
	MYGATT_SRV4_CH2_CCC,
	MYGATT_SRV4_CH2_CUD,
	MYGATT_SRV4_CH2_CPF,
	MYGATT_SRV4_CH3_CHRC0,
	MYGATT_SRV4_CH3_CHRC1,
	MYGATT_SRV4_CH3_CCC,
	MYGATT_SRV4_CH3_CUD,
	MYGATT_SRV4_CH3_CPF,
	MYGATT_SRV4_CH4_CHRC0,
	MYGATT_SRV4_CH4_CHRC1,
	MYGATT_SRV4_CH4_CCC,
	MYGATT_SRV4_CH4_CUD,
	MYGATT_SRV4_CH4_CPF,
	MYGATT_SRV4_CH5_CHRC0,
	MYGATT_SRV4_CH5_CHRC1,
	MYGATT_SRV4_CH5_CCC,
	MYGATT_SRV4_CH5_CUD,
	MYGATT_SRV4_CH5_CPF,
	MYGATT_SRV4_CH6_CHRC0,
	MYGATT_SRV4_CH6_CHRC1,
	MYGATT_SRV4_CH6_CCC,
	MYGATT_SRV4_CH6_CUD,
	MYGATT_SRV4_CH6_CPF,
	MYGATT_SRV4_CH7_CHRC0,
	MYGATT_SRV4_CH7_CHRC1,
	MYGATT_SRV4_CH7_CCC,
	MYGATT_SRV4_CH7_CUD,
	MYGATT_SRV4_CH7_CPF,




	MYGATT_COUNT
} mygatt_t;



typedef enum {
	MYID_APP_PRINT_MODE,
	MYID_APP_VREG1_EN,
	MYID_APP_VREG2_EN,

	MYID_ADC_CH0,
	MYID_ADC_CH1,
	MYID_ADC_CH2,
	MYID_ADC_CH3,
	MYID_ADC_CH4,
	MYID_ADC_CH5,
	MYID_ADC_CH6,
	MYID_ADC_CH7,

	MYID_CH0_PIKO_A,
	MYID_CH1_PIKO_A,
	MYID_CH2_PIKO_A,
	MYID_CH3_PIKO_A,
	MYID_CH4_PIKO_A,
	MYID_CH5_PIKO_A,
	MYID_CH6_PIKO_A,
	MYID_CH7_PIKO_A,
	

	MYID_ADC_OFFSET,
	MYID_ADC_VCM,
	MYID_ADC_AVDD,
	MYID_ADC_TEMP,
	MYID_DPOT0_WIPER,
	MYID_DPOT1_WIPER,
	MYID_DPOT2_WIPER,
	MYID_DPOT3_WIPER,
	MYID_DPOT4_WIPER,
	MYID_DPOT5_WIPER,
	MYID_DPOT6_WIPER,

	MYID_CH0_RESISTOR_FB,
	MYID_CH1_RESISTOR_FB,
	MYID_CH2_RESISTOR_FB,
	MYID_CH3_RESISTOR_FB,
	MYID_CH4_RESISTOR_FB,
	MYID_CH5_RESISTOR_FB,
	MYID_CH6_RESISTOR_FB,
	MYID_CH7_RESISTOR_FB,


	MYID_ADC_CH0_MIN,
	MYID_ADC_CH1_MIN,
	MYID_ADC_CH2_MIN,
	MYID_ADC_CH3_MIN,
	MYID_ADC_CH4_MIN,
	MYID_ADC_CH5_MIN,
	MYID_ADC_CH6_MIN,
	MYID_ADC_CH7_MIN,

	MYID_ADC_CH0_MAX,
	MYID_ADC_CH1_MAX,
	MYID_ADC_CH2_MAX,
	MYID_ADC_CH3_MAX,
	MYID_ADC_CH4_MAX,
	MYID_ADC_CH5_MAX,
	MYID_ADC_CH6_MAX,
	MYID_ADC_CH7_MAX,

	MYID_COUNT
} myid_t;







#define MYFLAG_NOTIFY UINT32_C(0x00000001)
#define MYFLAG_SETVAL UINT32_C(0x00000002)



typedef enum {
	APP_PRINT_MODE_UNKNOWN,
	APP_PRINT_MODE_NONE,
	APP_PRINT_MODE_ADC_ALL,
	APP_PRINT_MODE_COUNT
} app_print_mode_t;


typedef struct {
	int32_t values[MYID_COUNT];
	int32_t values_flags[MYID_COUNT];
	int32_t app_print_mode;
} app_t;

extern app_t app;



char const * myid_t_tostr(myid_t id);
```
